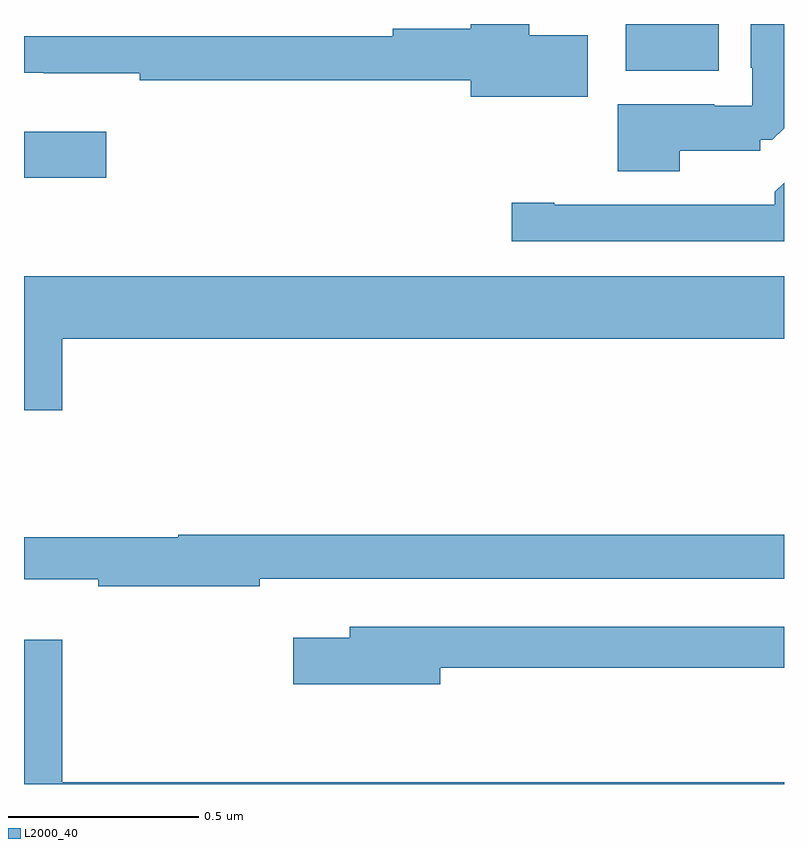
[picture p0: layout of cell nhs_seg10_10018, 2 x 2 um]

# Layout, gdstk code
import gdstk
lib = gdstk.Library(unit=1e-6, precision=1e-09)
def R(c, l, rs):  # rectangles x0, y0, x1, y1
    for r in rs: c.add(gdstk.rectangle(r[:2], r[2:], *l))
def P(c, l, *ps):  # polygons
    for p in ps: c.add(gdstk.Polygon(p, *l))
L2000_40 = (2000, 40)

nhs_seg10_10018 = lib.new_cell('nhs_seg10_10018')
R(nhs_seg10_10018, L2000_40, [(237,1278.095,237.217,1278.217), (238.583,1278.377,238.828,1278.5)])
P(nhs_seg10_10018, L2000_40, [(238.483,1278.471),(238.33,1278.471),(238.33,1278.5),(238.175,1278.5),(238.175,1278.488),(237.97,1278.488),(237.97,1278.468),(237,1278.468),(237,1278.372),(237.052,1278.372),(237.052,1278.371),(237.304,1278.371),(237.304,1278.352),(238.175,1278.352),(238.175,1278.308),(238.483,1278.308)],
  [(238.726,1278.167),(238.938,1278.167),(238.938,1278.195),(238.969,1278.195),(239,1278.226),(239,1278.5),(238.913,1278.5),(238.913,1278.385),(238.917,1278.385),(238.917,1278.285),(238.817,1278.285),(238.817,1278.289),(238.562,1278.289),(238.562,1278.113),(238.726,1278.113)],
  [(239,1278.082),(238.976,1278.058),(238.976,1278.024),(238.396,1278.024),(238.396,1278.029),(238.284,1278.029),(238.284,1277.928),(239,1277.928)],
  [(237.1,1277.672),(239,1277.672),(239,1277.836),(237,1277.836),(237,1277.484),(237.1,1277.484)],
  [(237.62,1277.04),(239,1277.04),(239,1277.156),(237.406,1277.156),(237.406,1277.149),(237,1277.149),(237,1277.039),(237.196,1277.039),(237.196,1277.02),(237.62,1277.02)],
  [(238.096,1276.806),(239,1276.806),(239,1276.914),(237.857,1276.914),(237.857,1276.885),(237.708,1276.885),(237.708,1276.763),(238.096,1276.763)],
  [(239,1276.504),(237.1,1276.504),(237.1,1276.879),(237,1276.879),(237,1276.5),(239,1276.5)])

lib.write_gds('nhs_seg10_10018.gds')
